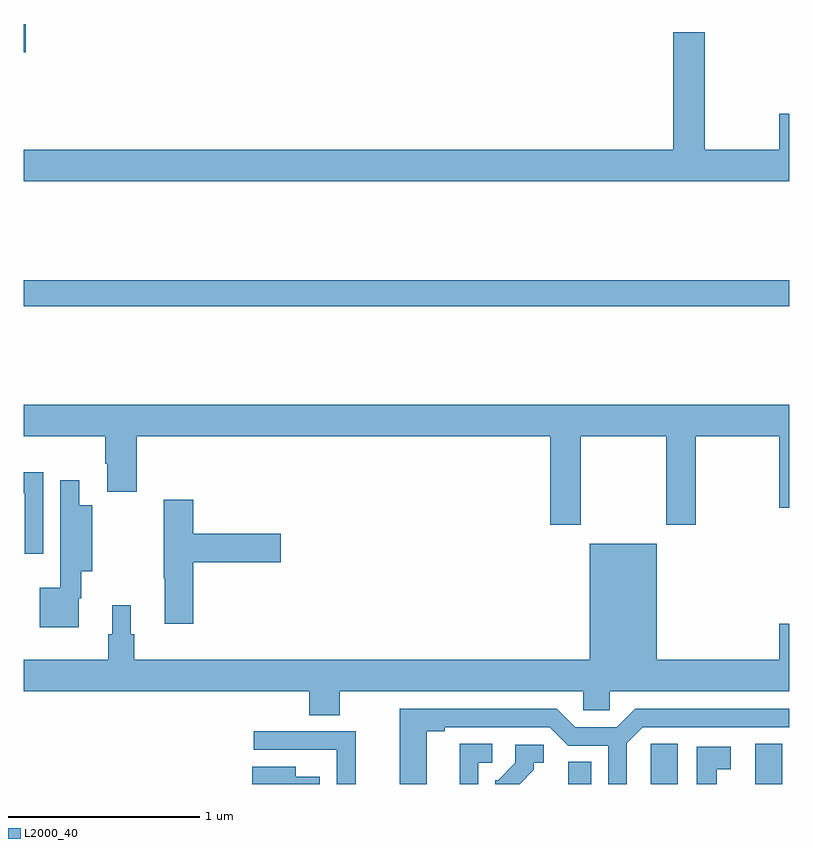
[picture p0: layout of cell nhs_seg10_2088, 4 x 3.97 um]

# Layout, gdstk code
import gdstk
lib = gdstk.Library(unit=1e-6, precision=1e-09)
def R(c, l, rs):  # rectangles x0, y0, x1, y1
    for r in rs: c.add(gdstk.rectangle(r[:2], r[2:], *l))
def P(c, l, *ps):  # polygons
    for p in ps: c.add(gdstk.Polygon(p, *l))
L2000_40 = (2000, 40)

nhs_seg10_2088 = lib.new_cell('nhs_seg10_2088')
R(nhs_seg10_2088, L2000_40, [(223.844,1298.5,223.966,1298.615), (224.822,1298.5,224.962,1298.71), (221,1300.996,225,1301.132), (221,1302.323,221.011,1302.47)])
P(nhs_seg10_2088, L2000_40, [(225,1302.001),(224.948,1302.001),(224.948,1301.812),(224.557,1301.812),(224.557,1302.427),(224.393,1302.427),(224.393,1301.812),(221,1301.812),(221,1301.648),(225,1301.648)],
  [(221,1300.316),(221.426,1300.316),(221.426,1300.174),(221.438,1300.174),(221.438,1300.026),(221.591,1300.026),(221.591,1300.316),(223.751,1300.316),(223.751,1299.855),(223.911,1299.855),(223.911,1300.316),(224.356,1300.316),(224.356,1299.855),(224.511,1299.855),(224.511,1300.316),(224.948,1300.316),(224.948,1299.942),(225,1299.942),(225,1300.48),(221,1300.48)],
  [(221.103,1300.128),(221,1300.128),(221,1300.02),(221.006,1300.02),(221.006,1299.702),(221.103,1299.702)],
  [(221.289,1299.47),(221.302,1299.47),(221.302,1299.611),(221.358,1299.611),(221.358,1299.955),(221.29,1299.955),(221.29,1300.087),(221.192,1300.087),(221.192,1299.851),(221.191,1299.851),(221.191,1299.526),(221.084,1299.526),(221.084,1299.32),(221.289,1299.32)],
  [(221.885,1299.659),(222.343,1299.659),(222.343,1299.806),(221.885,1299.806),(221.885,1299.985),(221.731,1299.985),(221.731,1299.575),(221.738,1299.575),(221.738,1299.336),(221.885,1299.336)],
  [(222.651,1298.984),(223.923,1298.984),(223.923,1298.886),(224.061,1298.886),(224.061,1298.984),(225,1298.984),(225,1299.337),(224.948,1299.337),(224.948,1299.148),(224.308,1299.148),(224.308,1299.754),(223.958,1299.754),(223.958,1299.148),(221.579,1299.148),(221.579,1299.282),(221.56,1299.282),(221.56,1299.433),(221.462,1299.433),(221.462,1299.282),(221.443,1299.282),(221.443,1299.148),(221,1299.148),(221,1298.984),(222.491,1298.984),(222.491,1298.86),(222.651,1298.86)],
  [(223.105,1298.776),(223.201,1298.776),(223.201,1298.796),(223.749,1298.796),(223.845,1298.7),(224.055,1298.7),(224.055,1298.5),(224.151,1298.5),(224.151,1298.712),(224.235,1298.796),(225,1298.796),(225,1298.892),(224.195,1298.892),(224.099,1298.796),(223.881,1298.796),(223.785,1298.892),(222.965,1298.892),(222.965,1298.5),(223.105,1298.5)],
  [(222.735,1298.775),(222.201,1298.775),(222.201,1298.679),(222.635,1298.679),(222.635,1298.678),(222.636,1298.678),(222.636,1298.5),(222.735,1298.5)],
  [(223.374,1298.61),(223.447,1298.61),(223.447,1298.711),(223.277,1298.711),(223.277,1298.5),(223.374,1298.5)],
  [(224.416,1298.711),(224.277,1298.711),(224.277,1298.603),(224.276,1298.603),(224.276,1298.5),(224.416,1298.5)],
  [(223.666,1298.575),(223.666,1298.61),(223.717,1298.61),(223.717,1298.706),(223.569,1298.706),(223.569,1298.61),(223.479,1298.52),(223.464,1298.52),(223.464,1298.5),(223.591,1298.5)],
  [(224.62,1298.578),(224.695,1298.578),(224.695,1298.694),(224.516,1298.694),(224.516,1298.5),(224.62,1298.5)],
  [(222.547,1298.539),(222.421,1298.539),(222.421,1298.59),(222.194,1298.59),(222.194,1298.5),(222.547,1298.5)])

lib.write_gds('nhs_seg10_2088.gds')
